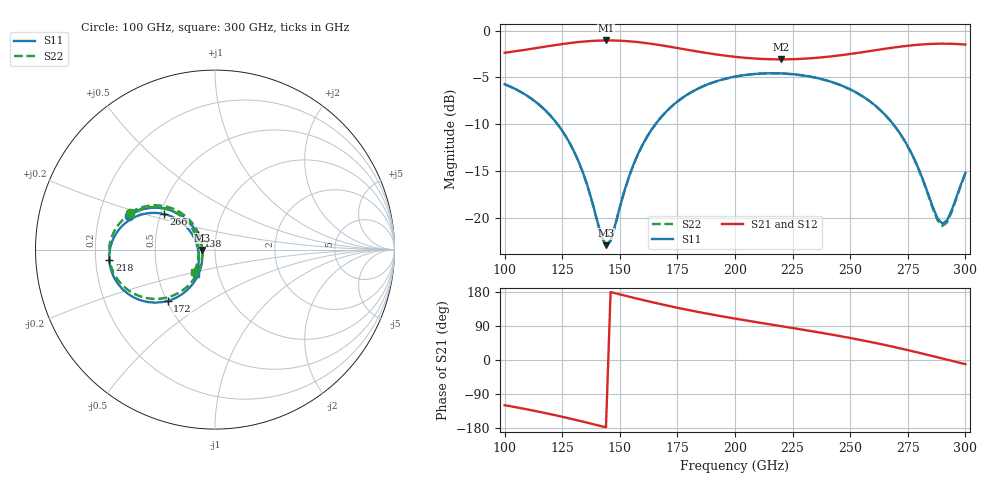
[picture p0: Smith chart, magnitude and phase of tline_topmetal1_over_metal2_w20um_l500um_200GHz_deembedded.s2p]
! Created with skrf 2.0.1 (http://scikit-rf.org).
# GHz S DB R 50.0
!freq dBS11 angS11 dBS21 angS21 dBS12 angS12 dBS22 angS22
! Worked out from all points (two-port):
!   101 points, 100 GHz to 300 GHz, reference 50 ohm
!   highest |S21| = -1.06 dB at 144 GHz (marker M1); lowest = -3.1 dB at 220 GHz (marker M2)
!   |S21| within 3 dB of the highest: start of sweep to end of sweep
!   lowest |S11| = -22.9 dB at 144 GHz (marker M3), VSWR 1.15, Z = 43.3 - j0.167 ohm
!   |S11| at or under -10 dB: 123 GHz to 165.5 GHz (42.46 GHz wide, 29.4 % of centre); 268.7 GHz to end of sweep
!   |S22| runs from -23.0 to -4.6 dB; largest |S21 - S12| = 4.6e-16
!   S11 on the Smith chart (normalised r, x): 100 GHz: 0.33, +0.17; 138 GHz: 0.82, +0.13; 172 GHz: 0.51, -0.34; 218 GHz: 0.26, -0.05; 266 GHz: 0.52, +0.23; 300 GHz: 0.78, -0.22
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100  -5.73 158.7  -2.37 -119.2  -2.37 -119.2  -5.73 156.7
120  -9.10 140.0  -1.63 -143.1  -1.63 -143.1  -9.11 137.6
128  -11.88 134.3  -1.35 -154.0  -1.35 -154.0  -11.89 131.6
134  -15.14 134.0  -1.19 -162.7  -1.19 -162.7  -15.16 131.1
138  -18.25 140.0  -1.11 -168.6  -1.11 -168.6  -18.29 137.0
144  -22.89 -178.5  -1.06 -177.7  -1.06 -177.7  -22.99 178.6
146  -22.36 -156.8  -1.06 179.3  -1.06 179.3  -22.45 -159.6
156  -14.25 -122.9  -1.19 164.2  -1.19 164.2  -14.27 -125.8
168  -9.22 -129.1  -1.58 147.1  -1.58 147.1  -9.23 -132.3
172  -8.20 -132.7  -1.74 141.8  -1.74 141.8  -8.21 -136.0
184  -6.19 -144.2  -2.25 126.9  -2.25 126.9  -6.20 -147.8
200  -4.92 -158.9  -2.80 109.3  -2.80 109.3  -4.93 -162.9
218  -4.56 -174.3  -3.07 91.3  -3.07 91.3  -4.57 -178.7
220  -4.57 -176.0  -3.07 89.3  -3.07 89.3  -4.58 179.6
234  -4.98 172.2  -2.94 75.3  -2.94 75.3  -4.99 167.5
252  -6.53 156.6  -2.43 55.8  -2.43 55.8  -6.54 151.5
266  -9.21 145.1  -1.92 38.4  -1.92 38.4  -9.23 139.5
268  -9.77 143.8  -1.85 35.7  -1.85 35.7  -9.80 138.1
276  -12.79 140.9  -1.60 24.6  -1.60 24.6  -12.83 135.0
290  -20.60 -174.0  -1.40 4.0  -1.40 4.0  -20.84 -179.8
294  -19.19 -145.6  -1.42 -2.0  -1.42 -2.0  -19.37 -150.8
300  -15.17 -128.0  -1.50 -11.0  -1.50 -11.0  -15.24 -133.2
